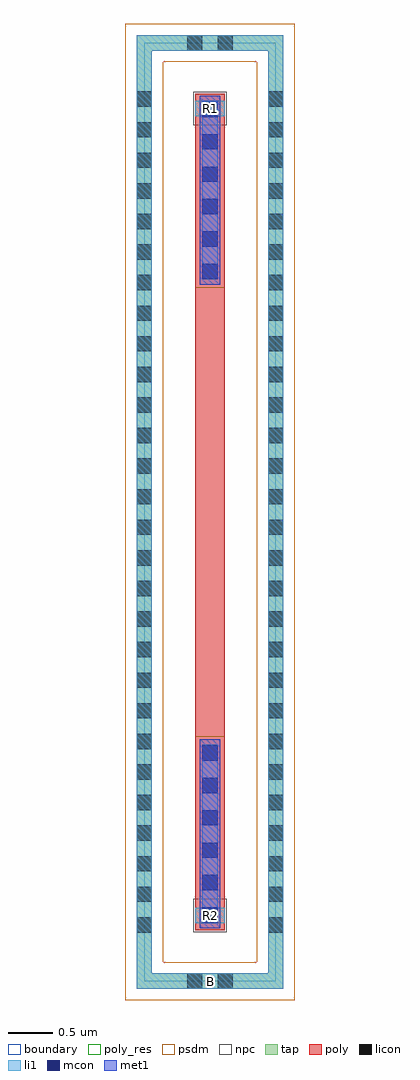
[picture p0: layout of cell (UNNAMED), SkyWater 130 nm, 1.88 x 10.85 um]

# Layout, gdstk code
import gdstk
lib = gdstk.Library(unit=1e-6, precision=1e-09)
def R(c, l, rs):  # rectangles x0, y0, x1, y1
    for r in rs: c.add(gdstk.rectangle(r[:2], r[2:], *l))
def A(c, l, x, y, w, h, nx, ny, dx, dy):  # array of equal rectangles
    R(c, l, [(x+i*dx, y+j*dy, x+i*dx+w, y+j*dy+h) for i in range(nx) for j in range(ny)])
tap = (65, 44)
poly_res = (66, 13)
poly = (66, 20)
licon = (66, 44)
li1 = (67, 20)
mcon = (67, 44)
met1 = (68, 20)
psdm = (94, 20)
npc = (95, 20)
boundary = (235, 4)

c__unnamed_ = lib.new_cell('(UNNAMED)')
R(c__unnamed_, tap, [(-0.815,-5.3,0.815,-5.13), (-0.815,-5.13,-0.645,5.13), (0.645,-5.13,0.815,5.13), (-0.815,5.13,0.815,5.3)])
R(c__unnamed_, poly_res, [(-0.165,-2.5,0.165,2.5)])
R(c__unnamed_, poly, [(-0.165,-4.65,0.165,4.65)])
A(c__unnamed_, licon, -0.815, -4.675, 0.17, 0.17, 1, 28, 0, 0.34)
A(c__unnamed_, licon, 0.645, -4.675, 0.17, 0.17, 1, 28, 0, 0.34)
R(c__unnamed_, licon, [(-0.255,-5.3,-0.085,-5.13), (0.085,-5.3,0.255,-5.13), (-0.085,-4.57,0.085,-4.4), (-0.085,4.4,0.085,4.57), (-0.255,5.13,-0.085,5.3), (0.085,5.13,0.255,5.3)])
R(c__unnamed_, li1, [(-0.815,-5.3,0.815,-5.13), (-0.815,-5.13,-0.645,5.13), (0.645,-5.13,0.815,5.13), (-0.165,-4.57,0.165,-4.4), (-0.085,-4.4,0.085,-2.585), (-0.085,2.585,0.085,4.4), (-0.165,4.4,0.165,4.57), (-0.815,5.13,0.815,5.3)])
A(c__unnamed_, mcon, -0.085, -4.565, 0.17, 0.17, 1, 6, 0, 0.36)
A(c__unnamed_, mcon, -0.085, 2.59, 0.17, 0.17, 1, 6, 0, 0.36)
R(c__unnamed_, met1, [(-0.115,-4.63,0.115,-2.525), (-0.115,2.525,0.115,4.63)])
R(c__unnamed_, psdm, [(-0.94,-5.425,0.94,-5.005), (-0.94,-5.005,-0.52,5.005), (0.52,-5.005,0.94,5.005), (-0.94,5.005,0.94,5.425)])
R(c__unnamed_, npc, [(-0.185,-4.67,0.185,-4.3), (-0.185,4.3,0.185,4.67)])
R(c__unnamed_, boundary, [(-0.73,-5.215,0.73,5.215)])
c__unnamed_.add(gdstk.Label('B', (0,-5.215), layer=67, texttype=5))
c__unnamed_.add(gdstk.Label('R1', (0,4.485), layer=67, texttype=5))
c__unnamed_.add(gdstk.Label('R2', (0,-4.485), layer=67, texttype=5))

lib.write_gds('_UNNAMED_.gds')
